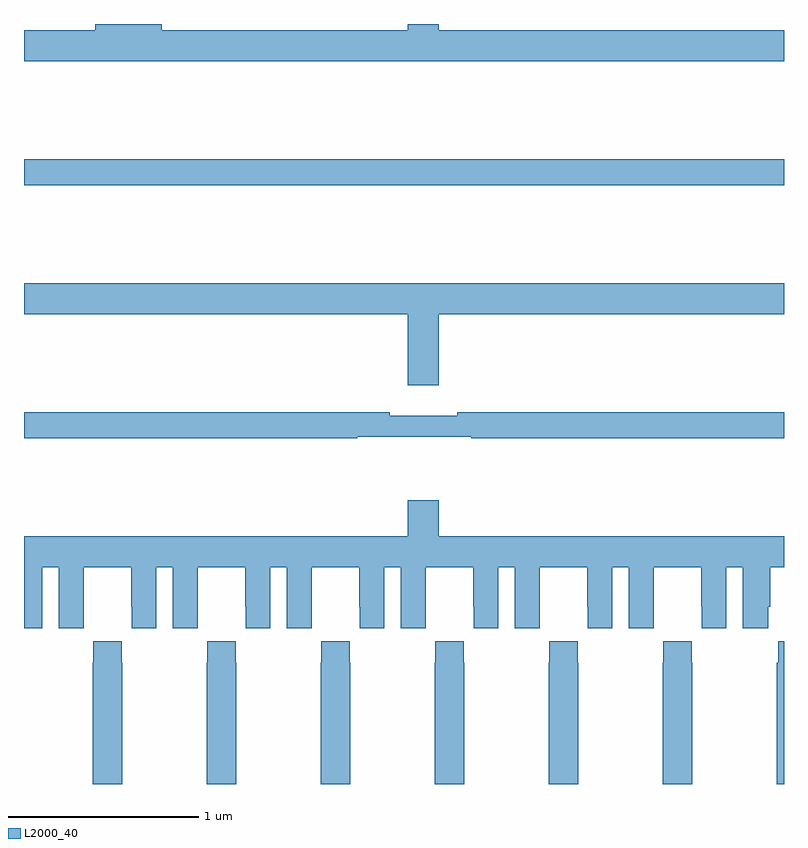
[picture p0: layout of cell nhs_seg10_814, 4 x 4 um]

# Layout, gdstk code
import gdstk
lib = gdstk.Library(unit=1e-6, precision=1e-09)
def R(c, l, rs):  # rectangles x0, y0, x1, y1
    for r in rs: c.add(gdstk.rectangle(r[:2], r[2:], *l))
def P(c, l, *ps):  # polygons
    for p in ps: c.add(gdstk.Polygon(p, *l))
L2000_40 = (2000, 40)

nhs_seg10_814 = lib.new_cell('nhs_seg10_814')
R(nhs_seg10_814, L2000_40, [(151,1311.652,155,1311.788)])
P(nhs_seg10_814, L2000_40, [(155,1312.468),(153.184,1312.468),(153.184,1312.5),(153.02,1312.5),(153.02,1312.468),(151.726,1312.468),(151.726,1312.5),(151.376,1312.5),(151.376,1312.468),(151,1312.468),(151,1312.304),(155,1312.304)],
  [(153.184,1310.972),(155,1310.972),(155,1311.136),(151,1311.136),(151,1310.972),(153.02,1310.972),(153.02,1310.598),(153.184,1310.598)],
  [(152.755,1310.328),(153.355,1310.328),(153.355,1310.32),(155,1310.32),(155,1310.456),(153.28,1310.456),(153.28,1310.437),(152.924,1310.437),(152.924,1310.456),(151,1310.456),(151,1310.32),(152.755,1310.32)],
  [(151,1309.32),(151.096,1309.32),(151.096,1309.64),(151.184,1309.64),(151.184,1309.32),(151.314,1309.32),(151.314,1309.432),(151.315,1309.432),(151.315,1309.64),(151.565,1309.64),(151.565,1309.432),(151.566,1309.432),(151.566,1309.32),(151.696,1309.32),(151.696,1309.64),(151.784,1309.64),(151.784,1309.32),(151.914,1309.32),(151.914,1309.432),(151.915,1309.432),(151.915,1309.64),(152.165,1309.64),(152.165,1309.432),(152.166,1309.432),(152.166,1309.32),(152.296,1309.32),(152.296,1309.64),(152.384,1309.64),(152.384,1309.32),(152.514,1309.32),(152.514,1309.432),(152.515,1309.432),(152.515,1309.64),(152.765,1309.64),(152.765,1309.432),(152.766,1309.432),(152.766,1309.32),(152.896,1309.32),(152.896,1309.64),(152.984,1309.64),(152.984,1309.32),(153.114,1309.32),(153.114,1309.432),(153.115,1309.432),(153.115,1309.64),(153.365,1309.64),(153.365,1309.432),(153.366,1309.432),(153.366,1309.32),(153.496,1309.32),(153.496,1309.64),(153.584,1309.64),(153.584,1309.32),(153.714,1309.32),(153.714,1309.432),(153.715,1309.432),(153.715,1309.64),(153.965,1309.64),(153.965,1309.432),(153.966,1309.432),(153.966,1309.32),(154.096,1309.32),(154.096,1309.64),(154.184,1309.64),(154.184,1309.32),(154.314,1309.32),(154.314,1309.432),(154.315,1309.432),(154.315,1309.64),(154.565,1309.64),(154.565,1309.432),(154.566,1309.432),(154.566,1309.32),(154.696,1309.32),(154.696,1309.64),(154.784,1309.64),(154.784,1309.32),(154.918,1309.32),(154.918,1309.432),(154.928,1309.432),(154.928,1309.64),(155,1309.64),(155,1309.804),(153.184,1309.804),(153.184,1309.993),(153.02,1309.993),(153.02,1309.804),(151,1309.804)],
  [(155,1309.252),(154.969,1309.252),(154.969,1309.139),(154.963,1309.139),(154.963,1308.5),(155,1308.5)],
  [(154.518,1309.139),(154.515,1309.139),(154.515,1309.252),(154.365,1309.252),(154.365,1309.139),(154.363,1309.139),(154.363,1308.5),(154.518,1308.5)],
  [(153.918,1309.139),(153.915,1309.139),(153.915,1309.252),(153.765,1309.252),(153.765,1309.139),(153.763,1309.139),(153.763,1308.5),(153.918,1308.5)],
  [(153.318,1309.139),(153.315,1309.139),(153.315,1309.252),(153.165,1309.252),(153.165,1309.139),(153.163,1309.139),(153.163,1308.5),(153.318,1308.5)],
  [(152.718,1309.139),(152.715,1309.139),(152.715,1309.252),(152.565,1309.252),(152.565,1309.139),(152.563,1309.139),(152.563,1308.5),(152.718,1308.5)],
  [(152.118,1309.139),(152.115,1309.139),(152.115,1309.252),(151.965,1309.252),(151.965,1309.139),(151.963,1309.139),(151.963,1308.5),(152.118,1308.5)],
  [(151.518,1309.139),(151.515,1309.139),(151.515,1309.252),(151.365,1309.252),(151.365,1309.139),(151.363,1309.139),(151.363,1308.5),(151.518,1308.5)])

lib.write_gds('nhs_seg10_814.gds')
